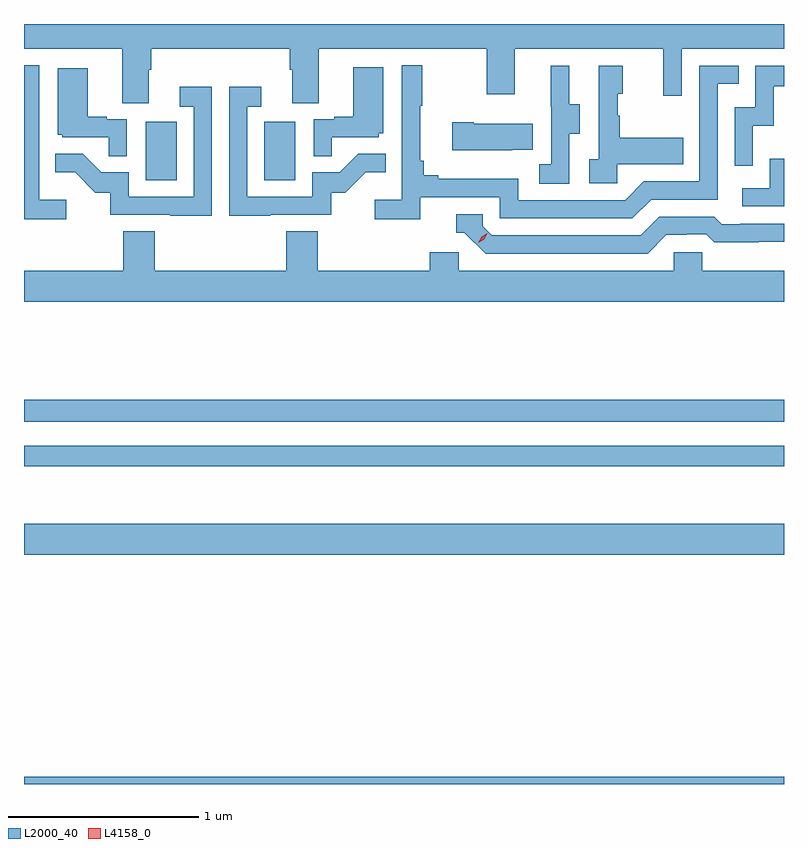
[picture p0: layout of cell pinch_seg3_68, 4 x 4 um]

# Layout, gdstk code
import gdstk
lib = gdstk.Library(unit=1e-6, precision=1e-09)
def R(c, l, rs):  # rectangles x0, y0, x1, y1
    for r in rs: c.add(gdstk.rectangle(r[:2], r[2:], *l))
def P(c, l, *ps):  # polygons
    for p in ps: c.add(gdstk.Polygon(p, *l))
L2000_40 = (2000, 40)
L4158_0 = (4158, 0)

pinch_seg3_68 = lib.new_cell('pinch_seg3_68')
R(pinch_seg3_68, L2000_40, [(1043.842,738.338,1047.842,738.376), (1043.842,739.544,1047.842,739.708), (1043.842,740.01,1047.842,740.118), (1043.842,740.244,1047.842,740.36), (1044.482,741.516,1044.646,741.823), (1045.106,741.516,1045.27,741.823)])
P(pinch_seg3_68, L2000_40, [(1044.499,742.096),(1044.512,742.096),(1044.512,742.208),(1045.241,742.208),(1045.241,742.096),(1045.253,742.096),(1045.253,741.922),(1045.393,741.922),(1045.393,742.208),(1046.278,742.208),(1046.278,741.969),(1046.425,741.969),(1046.425,742.208),(1047.206,742.208),(1047.206,741.96),(1047.303,741.96),(1047.303,742.208),(1047.842,742.208),(1047.842,742.338),(1043.842,742.338),(1043.842,742.208),(1044.359,742.208),(1044.359,741.922),(1044.499,741.922)],
  [(1045.928,741.426),(1046.346,741.426),(1046.346,741.315),(1047.043,741.315),(1047.142,741.414),(1047.492,741.414),(1047.492,742.023),(1047.605,742.023),(1047.605,742.119),(1047.396,742.119),(1047.396,741.51),(1047.105,741.51),(1047.006,741.411),(1046.442,741.411),(1046.442,741.523),(1046.023,741.523),(1046.023,741.542),(1045.946,741.542),(1045.946,741.619),(1045.927,741.619),(1045.927,741.907),(1045.939,741.907),(1045.939,742.12),(1045.83,742.12),(1045.83,741.412),(1045.689,741.412),(1045.689,741.31),(1045.928,741.31)],
  [(1044.064,741.412),(1043.922,741.412),(1043.922,742.12),(1043.842,742.12),(1043.842,741.31),(1044.064,741.31)],
  [(1047.678,741.803),(1047.788,741.803),(1047.788,742.011),(1047.842,742.011),(1047.842,742.119),(1047.69,742.119),(1047.69,741.9),(1047.582,741.9),(1047.582,741.591),(1047.678,741.591)],
  [(1046.712,741.76),(1046.767,741.76),(1046.767,741.915),(1046.713,741.915),(1046.713,742.117),(1046.615,742.117),(1046.615,741.903),(1046.616,741.903),(1046.616,741.599),(1046.553,741.599),(1046.553,741.496),(1046.712,741.496)],
  [(1046.964,741.599),(1047.311,741.599),(1047.311,741.739),(1046.977,741.739),(1046.977,741.854),(1046.967,741.854),(1046.967,741.972),(1046.992,741.972),(1046.992,742.117),(1046.868,742.117),(1046.868,741.626),(1046.817,741.626),(1046.817,741.501),(1046.964,741.501)],
  [(1045.463,741.741),(1045.71,741.741),(1045.71,741.762),(1045.732,741.762),(1045.732,742.111),(1045.574,742.111),(1045.574,741.85),(1045.475,741.85),(1045.475,741.837),(1045.368,741.837),(1045.368,741.643),(1045.463,741.643)],
  [(1044.384,741.837),(1044.278,741.837),(1044.278,741.85),(1044.178,741.85),(1044.178,742.105),(1044.02,742.105),(1044.02,741.756),(1044.042,741.756),(1044.042,741.741),(1044.289,741.741),(1044.289,741.643),(1044.384,741.643)],
  [(1044.831,742.009),(1044.663,742.009),(1044.663,741.903),(1044.735,741.903),(1044.735,741.429),(1044.393,741.429),(1044.393,741.558),(1044.249,741.558),(1044.151,741.656),(1044.007,741.656),(1044.007,741.557),(1044.111,741.557),(1044.218,741.45),(1044.295,741.45),(1044.295,741.333),(1044.613,741.333),(1044.613,741.328),(1044.831,741.328)],
  [(1045.139,741.333),(1045.458,741.333),(1045.458,741.45),(1045.534,741.45),(1045.641,741.557),(1045.745,741.557),(1045.745,741.656),(1045.601,741.656),(1045.503,741.558),(1045.359,741.558),(1045.359,741.429),(1045.017,741.429),(1045.017,741.903),(1045.09,741.903),(1045.09,742.009),(1044.921,742.009),(1044.921,741.328),(1045.139,741.328)],
  [(1046.411,741.677),(1046.519,741.677),(1046.519,741.814),(1046.209,741.814),(1046.209,741.822),(1046.097,741.822),(1046.097,741.674),(1046.411,741.674)],
  [(1047.842,741.628),(1047.768,741.628),(1047.768,741.474),(1047.621,741.474),(1047.621,741.378),(1047.842,741.378)],
  [(1047.223,741.228),(1047.33,741.228),(1047.33,741.231),(1047.433,741.231),(1047.475,741.189),(1047.708,741.189),(1047.708,741.191),(1047.842,741.191),(1047.842,741.288),(1047.613,741.288),(1047.613,741.285),(1047.514,741.285),(1047.475,741.324),(1047.186,741.324),(1047.087,741.225),(1046.304,741.225),(1046.256,741.273),(1046.256,741.336),(1046.117,741.336),(1046.117,741.24),(1046.16,741.24),(1046.271,741.129),(1047.124,741.129)],
  [(1047.842,741.04),(1047.411,741.04),(1047.411,741.138),(1047.261,741.138),(1047.261,741.04),(1046.13,741.04),(1046.13,741.138),(1045.978,741.138),(1045.978,741.04),(1045.388,741.04),(1045.388,741.248),(1045.223,741.248),(1045.223,741.04),(1044.53,741.04),(1044.53,741.248),(1044.365,741.248),(1044.365,741.04),(1043.842,741.04),(1043.842,740.876),(1047.842,740.876)])
P(pinch_seg3_68, L4158_0, [(1046.233,741.186),(1046.233,741.187),(1046.25,741.219),(1046.281,741.238),(1046.281,741.238),(1046.281,741.238),(1046.264,741.205),(1046.233,741.186)])

lib.write_gds('pinch_seg3_68.gds')
